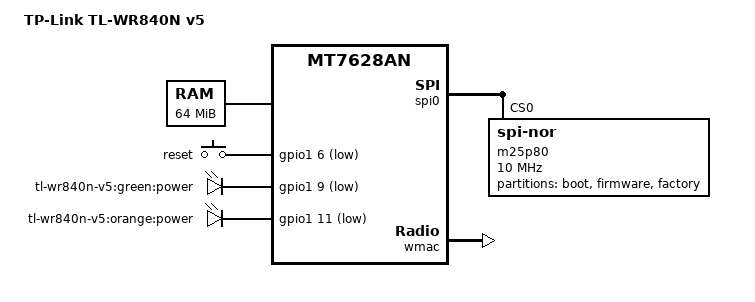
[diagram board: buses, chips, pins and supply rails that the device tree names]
/dts-v1/;

#include "mt7628an.dtsi"

#include <dt-bindings/gpio/gpio.h>
#include <dt-bindings/input/input.h>

/ {
	compatible = "tplink,tl-wr840n-v5", "mediatek,mt7628an-soc";
	model = "TP-Link TL-WR840N v5";

	aliases {
		led-boot = &led_power_green;
		led-failsafe = &led_power_green;
		led-running = &led_power_green;
		led-upgrade = &led_power_green;
	};

	chosen {
		bootargs = "console=ttyS0,115200";
	};

	memory@0 {
		device_type = "memory";
		reg = <0x0 0x4000000>;
	};

	gpio-keys-polled {
		compatible = "gpio-keys-polled";
		poll-interval = <20>;

		reset {
			label = "reset";
			gpios = <&gpio1 6 GPIO_ACTIVE_LOW>;
			linux,code = <KEY_RESTART>;
		};
	};
	/* LED used is dual-color,dual lead LED */
	gpio-leds {
		compatible = "gpio-leds";

		led_power_green: power {
			label = "tl-wr840n-v5:green:power";
			gpios = <&gpio1 9 GPIO_ACTIVE_LOW>;
		};

		orange {
			label = "tl-wr840n-v5:orange:power";
			gpios = <&gpio1 11 GPIO_ACTIVE_LOW>;
		};
	};
};

&spi0 {
	status = "okay";

	m25p80@0 {
		compatible = "jedec,spi-nor";
		reg = <0>;
		spi-max-frequency = <10000000>;
		m25p,chunked-io = <32>;

		partitions {
			compatible = "fixed-partitions";
			#address-cells = <1>;
			#size-cells = <1>;

			partition@0 {
				label = "boot";
				reg = <0x0 0x20000>;
				read-only;
			};

			partition@20000 {
				label = "firmware";
				reg = <0x20000 0x3d0000>;
			};

			factory: partition@3f0000 {
				label = "factory";
				reg = <0x3f0000 0x10000>;
				read-only;
			};
		};
	};
};

&ehci {
	status = "disabled";
};

&ohci {
	status = "disabled";
};

&wmac {
	status = "okay";
	mtd-mac-address = <&factory 0xf100>;
	mediatek,mtd-eeprom = <&factory 0x10000>;
};

&ethernet {
	mtd-mac-address = <&factory 0xf100>;
	mediatek,portmap = "wllll";
};

&pinctrl {
	state_default: pinctrl0 {
		gpio {
			ralink,group = "p0led_an", "p2led_an", "perst";
			ralink,function = "gpio";
		};
	};
};
